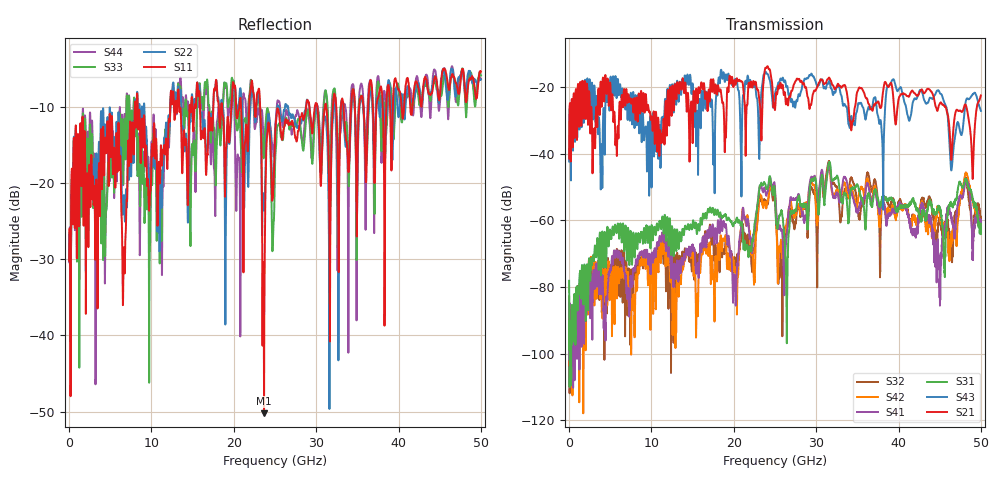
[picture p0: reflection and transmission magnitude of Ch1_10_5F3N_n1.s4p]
!Agilent Technologies,N5247A,US51170199,A.09.90.13
!Agilent N5247A: A.09.90.13
!Date: Tuesday, December 08, 2015 12:11:01
!Correction: S11(Full 4 Port(1,2,3,4))
!S12(Full 4 Port(1,2,3,4))
!S13(Full 4 Port(1,2,3,4))
!S14(Full 4 Port(1,2,3,4))
!S21(Full 4 Port(1,2,3,4))
!S22(Full 4 Port(1,2,3,4))
!S23(Full 4 Port(1,2,3,4))
!S24(Full 4 Port(1,2,3,4))
!S31(Full 4 Port(1,2,3,4))
!S32(Full 4 Port(1,2,3,4))
!S33(Full 4 Port(1,2,3,4))
!S34(Full 4 Port(1,2,3,4))
!S41(Full 4 Port(1,2,3,4))
!S42(Full 4 Port(1,2,3,4))
!S43(Full 4 Port(1,2,3,4))
!S44(Full 4 Port(1,2,3,4))
!S4P File: Measurements: <S11,S12,S13,S14>,
!<S21,S22,S23,S24>,
!<S31,S32,S33,S34>,
!<S41,S42,S43,S44>:
# Hz S  dB  R 50
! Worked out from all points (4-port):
!   3201 points, 10 MHz to 50 GHz, reference 50 ohm
!   strongest paths, dB at 10 MHz, 12.51 GHz, 25 GHz, 37.5 GHz, 50 GHz:
!     S21: -41.5, -21.7, -26.9, -24.3, -22.5
!     S43: -42.4, -19.4, -22.0, -28.6, -27.1
!     S31: -78.1, -62.0, -52.4, -53.6, -61.0
!     S41: -87.4, -72.0, -50.4, -55.3, -60.9
!     S42: -88.3, -80.2, -51.6, -56.8, -62.3
!     S32: -82.9, -69.1, -52.0, -54.4, -59.4
!   lowest |S11| = -50.2 dB at 23.68 GHz (marker M1), VSWR 1.01, Z = 50.1 + j0.297 ohm
!   |S11| at or under -10 dB: start of sweep to 7.973 GHz; 8.342 GHz to 12.29 GHz (3.946 GHz wide, 38.3 % of centre); 23.2 GHz to 28.79 GHz (5.586 GHz wide, 21.5 % of centre)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
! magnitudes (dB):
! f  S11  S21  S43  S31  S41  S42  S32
! 10 MHz  -30.2  -41.5  -42.4  -78.1  -87.4  -88.3  -82.9
! 18.6 GHz  -10.4  -24.7  -17.4  -59.2  -62.9  -68.2  -70.6
! 20.08 GHz  -7.4  -17.9  -18.2  -60.5  -77.3  -74.6  -71.0
! 23.68 GHz  -50.2  -16.9  -16.2  -48.5  -50.3  -54.7  -53.7
! 26.38 GHz  -11.8  -24.6  -20.1  -82.3  -65.4  -61.5  -63.3
! 31.57 GHz  -20.6  -17.2  -18.2  -42.5  -43.8  -44.0  -42.3
! 50 GHz  -5.4  -22.5  -27.1  -61.0  -60.9  -62.3  -59.4
